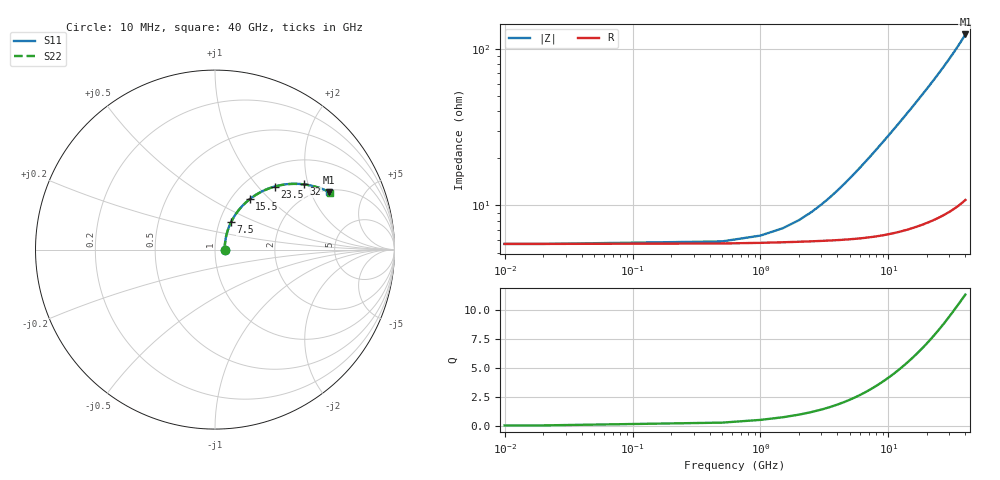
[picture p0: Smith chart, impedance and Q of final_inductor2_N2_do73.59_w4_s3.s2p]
#  GHZ S DB R 50
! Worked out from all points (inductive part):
!   82 points, 10 MHz to 40 GHz, reference 50 ohm
!   read as one part in series: L = 432 pH near 7 GHz
!   highest Q = 11.4 at 40 GHz (marker M1), where L = 490 pH
!   S11 on the Smith chart (normalised r, x): 10 MHz: 1.11, +0.00; 7.5 GHz: 1.14, +0.36; 15.5 GHz: 1.21, +0.77; 23.5 GHz: 1.35, +1.23; 32 GHz: 1.61, +1.87; 40 GHz: 2.09, +2.73
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0.01  -25.40 0.2  -0.48 -0.0  -0.48 -0.0  -25.40 0.2
0.5  -25.17 11.4  -0.48 -0.9  -0.48 -0.9  -25.17 11.4
1  -24.62 21.5  -0.49 -1.7  -0.49 -1.7  -24.61 21.6
1.5  -23.86 30.0  -0.50 -2.6  -0.50 -2.6  -23.84 30.2
3.5  -20.28 50.2  -0.55 -5.8  -0.55 -5.8  -20.25 50.2
4.5  -18.68 54.7  -0.58 -7.4  -0.58 -7.4  -18.65 54.7
5.5  -17.28 57.4  -0.61 -9.0  -0.61 -9.0  -17.24 57.4
7  -15.49 59.4  -0.66 -11.3  -0.66 -11.3  -15.46 59.4
7.5  -14.97 59.7  -0.68 -12.1  -0.68 -12.1  -14.93 59.6
9  -13.56 59.9  -0.75 -14.5  -0.75 -14.5  -13.53 59.9
10.5  -12.37 59.4  -0.83 -16.8  -0.83 -16.8  -12.33 59.4
12  -11.33 58.5  -0.92 -19.1  -0.92 -19.1  -11.29 58.4
13.5  -10.42 57.4  -1.01 -21.3  -1.01 -21.3  -10.38 57.3
15.5  -9.37 55.5  -1.15 -24.3  -1.15 -24.3  -9.33 55.4
18  -8.24 52.9  -1.35 -28.0  -1.35 -28.0  -8.20 52.7
20.5  -7.29 50.1  -1.58 -31.6  -1.58 -31.6  -7.25 49.9
23.5  -6.31 46.6  -1.87 -35.9  -1.87 -35.9  -6.27 46.4
27  -5.35 42.4  -2.26 -40.8  -2.26 -40.8  -5.31 42.2
32  -4.25 36.4  -2.89 -47.6  -2.89 -47.6  -4.21 36.1
33.5  -3.96 34.6  -3.09 -49.6  -3.09 -49.6  -3.92 34.2
36.5  -3.45 31.0  -3.53 -53.6  -3.53 -53.6  -3.41 30.6
40  -2.94 26.8  -4.08 -58.1  -4.08 -58.1  -2.89 26.3
